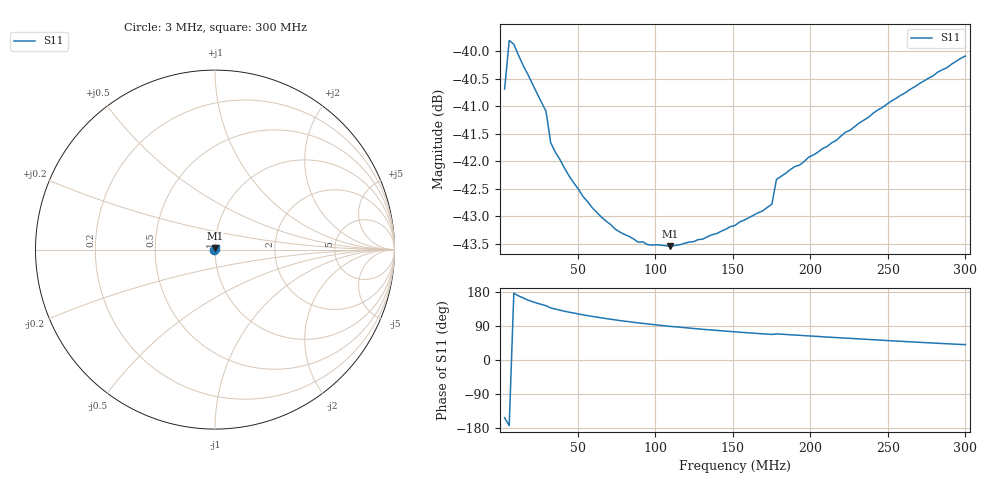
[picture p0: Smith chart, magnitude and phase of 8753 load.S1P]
! C:\data\NanoVNA\8753 load.S1P
! Touchstone 1.1 file saved by VNA.EXE V1.60 (www.ke5fx.com/gpib/readme.htm)
! 22/08/2019 8:33:01 a.m.
!  Source: HEWLETT PACKARD,8753C,0,4.12
!  Min freq: 3.000000E+006 Hz
!  Max freq: 3.000000E+008 Hz
!  Points: 101
!  Params: S11
# GHZ S MA R 50
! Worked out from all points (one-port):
!   101 points, 3 MHz to 300 MHz, reference 50 ohm
!   lowest |S11| = -43.5 dB at 109.9 MHz (marker M1), VSWR 1.01, Z = 50 + j0.665 ohm
!   |S11| at or under -10 dB: start of sweep to end of sweep
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0.003  0.009242 -152.5
0.00597  0.01023 -173.2
0.00894  0.01015 176.2
0.01488  0.009714 164.1
0.02973  0.008817 143.2
0.0327  0.008261 137.4
0.04161  0.007831 128.8
0.05349  0.007382 119.3
0.05943  0.00721 115.0
0.06537  0.007069 111.2
0.07725  0.006851 104.1
0.08913  0.006707 98.1
0.0921  0.006712 96.6
0.09507  0.006673 95.2
0.10992  0.006651 88.6
0.11586  0.00667 86.6
0.13071  0.006749 80.9
0.1515  0.006946 74.2
0.16932  0.007161 69.1
0.17526  0.007261 67.4
0.17823  0.007649 68.9
0.19011  0.007858 65.9
0.19308  0.007882 65.1
0.19902  0.008014 63.5
0.22575  0.00848 57.1
0.24357  0.008846 52.9
0.26436  0.009236 48.0
0.3  0.009904 40.6
